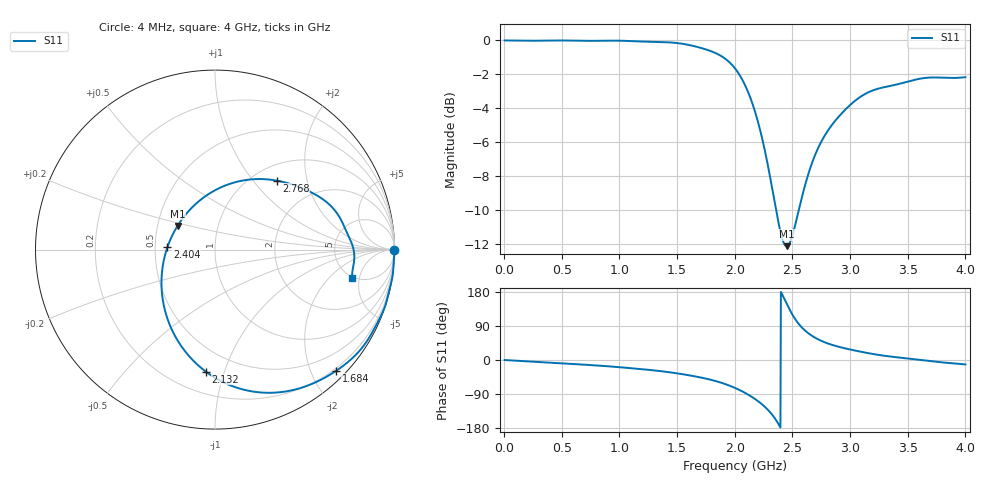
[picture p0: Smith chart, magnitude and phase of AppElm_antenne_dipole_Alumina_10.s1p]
! TOUCHSTONE file generated by CST MICROWAVE STUDIO
! Date and time: Sat May 14 11:21:44 2022
! Project name: AppElm_antenne_dipole_Alumina.cst
! Parameters = {L=33; e=0.035; f=2.45e+09; h=1.6; i=0.8; l1=2; lambda=122.449; ls=30; wl=1.7; ws=96}
! Header version: 2018
! Port assignment regex: !\s*Touchstone port\s*([0-9]+)\s*=\s*(CST MWS port|CST DS port)\s*([0-9]+|Zmin|Zmax)\s*\(\"(.*)\"\)(\s*mode\s*([0-9]+))?.*
! Touchstone port assignment:
! Touchstone port 1 = CST MWS port 1 ("")
# GHz S MA R 50
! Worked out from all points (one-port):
!   1000 points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, 4 MHz to 4 GHz, reference 50 ohm
!   lowest |S11| = -12.1 dB at 2.452 GHz (marker M1), VSWR 1.66, Z = 31.7 + j8.95 ohm
!   |S11| at or under -10 dB: 2.358 GHz to 2.556 GHz (197.7 MHz wide, 8.05 % of centre)
!   S11 on the Smith chart (normalised r, x): 4 MHz: open; 1.684 GHz: 0.16, -2.41; 2.132 GHz: 0.34, -0.87; 2.404 GHz: 0.58, +0.02; 2.768 GHz: 1.27, +1.33; 4 GHz: 4.87, -3.89
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0.004  1 -0.1
0.504  0.9999 -8.7
1.004  0.9983 -19.1
1.316  0.9901 -27.9
1.504  0.9822 -35.4
1.684  0.9552 -44.9
1.776  0.9344 -51.0
1.856  0.91 -57.5
1.936  0.873 -65.6
2.004  0.8254 -73.9
2.068  0.7629 -83.3
2.132  0.6818 -94.3
2.208  0.564 -110.0
2.276  0.4472 -127.9
2.34  0.3418 -150.6
2.404  0.2657 177.3
2.452  0.2472 147.6
2.504  0.2688 117.6
2.564  0.3251 91.8
2.624  0.3892 74.0
2.688  0.4517 60.4
2.768  0.5155 48.2
2.872  0.5799 37.3
3.004  0.6466 27.5
3.204  0.7136 15.5
3.504  0.7566 3.9
3.684  0.7769 -2.5
4  0.7792 -11.6
